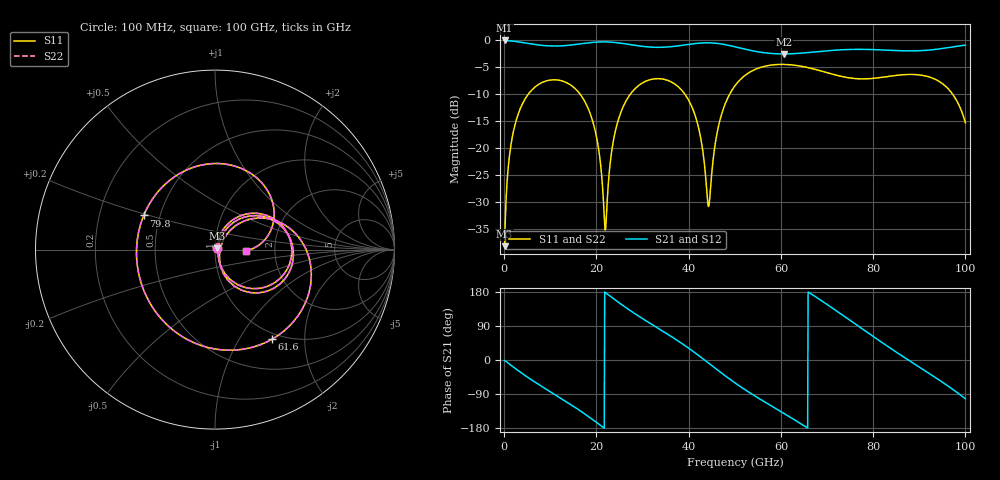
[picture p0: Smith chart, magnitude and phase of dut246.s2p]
! Touchstone file exported from HFSS 2026.1.0
!  File:  C:/ffzhzh/LocalFiles/Ansys_Project_Files/temp_train_TSV_RDL_246_1783668525_29156.aedt
!  Generated:  03:39:31 PM Jul 10, 2026
!  Design:  TSV_RDL
!  Project:  temp_train_TSV_RDL_246_1783668525_29156
! Variables:
!  h_bsmrdl = 4.77um
!  h_ox = 20um
!  h_rdl = 5um
!  h_sub = 64.98um
!  h_tmrdl = 4.95um
!  h_tsv = 64.98um
!  h_via = 3um
!  l_bsmrdl = 460.09um
!  l_sub = 2880.52um
!  l_tmrdl = 238.92um
!  m_sub = 200um
!  pitch = 44.52um
!  r_tsv = 8.49um
!  s_tmrdl = 10um
!  w_bsmrdl = 20.1um
!  w_sub = 500um
!  w_tmrdl = 28.09um
!  x_tsv_center1 = 252.965um
!  x_tsv_center2 = 733.155um
!  x_tsv_center3 = 1000.165um
!  x_tsv_center4 = 1480.355um
!  x_tsv_center5 = 1747.365um
!  x_tsv_center6 = 2227.555um
# GHz S MA R 50.000000
! Terminal data exported
! Port[1] = TM_RDL1_1_T1
! Port[2] = TM_RDL5_1_T1
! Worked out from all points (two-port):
!   1000 points, 100 MHz to 100 GHz, reference 50 ohm
!   highest |S21| = -0.08 dB at 100 MHz (marker M1); lowest = -2.6 dB at 60.6 GHz (marker M2)
!   |S21| within 3 dB of the highest: start of sweep to end of sweep
!   lowest |S11| = -38.2 dB at 100 MHz (marker M3), VSWR 1.02, Z = 50.9 + j0.81 ohm
!   |S11| at or under -10 dB: start of sweep to 5.272 GHz; 16.43 GHz to 27.4 GHz (10.97 GHz wide, 50.1 % of centre); 39.15 GHz to 48.92 GHz (9.768 GHz wide, 22.2 % of centre) (the widest 3 of 4)
!   |S22| runs from -38.2 to -4.5 dB; largest |S21 - S12| = 2.8e-13
!   S11 on the Smith chart (normalised r, x): 100 MHz: 1.02, +0.02; 61.6 GHz: 0.90, -1.39; 79.8 GHz: 0.41, +0.19; 100 GHz: 1.41, -0.02
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0.1  0.01229 40.3  0.9907 -1.0  0.9907 -1.0  0.01229 40.3
! Gamma 0 0 0 0
! Port Impedance 50 0 50 0
1.6  0.1149 68.4  0.9801 -15.0  0.9801 -15.0  0.1149 68.4
4.5  0.2823 45.6  0.9396 -40.5  0.9396 -40.5  0.2823 45.6
10.6  0.4277 -0.3  0.8801 -88.2  0.8801 -88.2  0.4277 -0.3
16.8  0.3006 -46.2  0.9244 -136.6  0.9244 -136.6  0.3006 -46.2
19.9  0.1343 -68.4  0.9558 -163.6  0.9558 -163.6  0.1344 -68.4
21.9  0.01738 -11.3  0.9611 178.3  0.9611 178.3  0.01767 -11.2
23.6  0.1112 62.5  0.9526 162.8  0.9526 162.8  0.1113 62.3
25.5  0.2243 50.6  0.9317 146.0  0.9317 146.0  0.2243 50.5
33.4  0.4384 -7.6  0.8555 83.5  0.8555 83.5  0.4385 -7.7
40.7  0.2402 -60.6  0.9196 25.1  0.9196 25.1  0.2401 -60.9
44.3  0.02867 -12.4  0.9421 -8.0  0.9421 -8.0  0.0272 -12.7
46.6  0.1678 49.6  0.9258 -29.6  0.9258 -29.6  0.1675 50.0
50.1  0.3797 24.7  0.8643 -60.9  0.8643 -60.9  0.3796 24.8
60.6  0.5941 -50.7  0.7434 -140.5  0.7434 -140.5  0.594 -50.7
61.6  0.5916 -57.7  0.7444 -147.8  0.7444 -147.8  0.5915 -57.8
66.7  0.5446 -95.3  0.7708 173.4  0.7708 173.4  0.5446 -95.5
74.1  0.4512 -156.0  0.8153 112.3  0.8153 112.3  0.4511 -156.3
79.8  0.4404 154.4  0.8156 63.8  0.8156 63.8  0.4404 154.2
83.4  0.4606 123.9  0.8036 33.9  0.8036 33.9  0.4606 123.7
91.5  0.4628 60.3  0.8027 -30.3  0.8027 -30.3  0.4629 60.2
100  0.1713 -2.4  0.8967 -102.2  0.8967 -102.2  0.1718 -2.0
